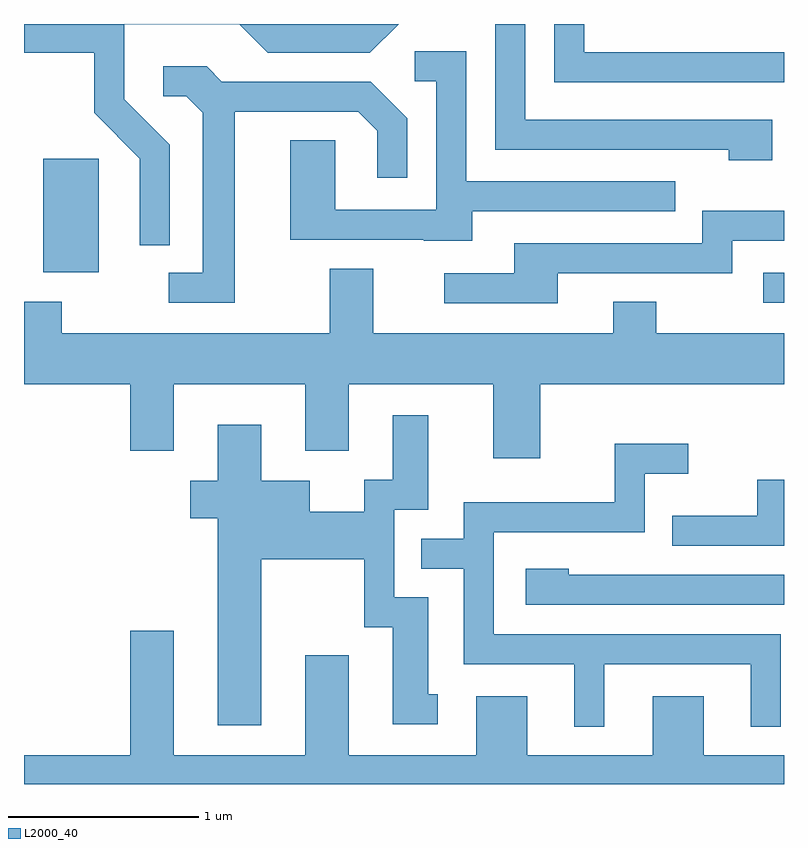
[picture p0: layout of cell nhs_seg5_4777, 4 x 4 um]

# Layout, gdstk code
import gdstk
lib = gdstk.Library(unit=1e-6, precision=1e-09)
def R(c, l, rs):  # rectangles x0, y0, x1, y1
    for r in rs: c.add(gdstk.rectangle(r[:2], r[2:], *l))
def P(c, l, *ps):  # polygons
    for p in ps: c.add(gdstk.Polygon(p, *l))
L2000_40 = (2000, 40)

nhs_seg5_4777 = lib.new_cell('nhs_seg5_4777')
R(nhs_seg5_4777, L2000_40, [(331.503,1410.606,331.611,1410.764), (327.711,1410.766,328.004,1411.364)])
P(nhs_seg5_4777, L2000_40, [(331.549,1411.569),(330.249,1411.569),(330.249,1412.072),(330.091,1412.072),(330.091,1411.411),(331.321,1411.411),(331.321,1411.356),(331.549,1411.356)],
  [(328.379,1411.437),(328.139,1411.677),(328.139,1412.071),(328.744,1412.071),(328.894,1411.921),(329.432,1411.921),(329.583,1412.072),(327.611,1412.072),(327.611,1411.921),(327.981,1411.921),(327.981,1411.604),(328.221,1411.364),(328.221,1410.908),(328.379,1410.908)],
  [(331.611,1411.924),(330.559,1411.924),(330.559,1412.072),(330.401,1412.072),(330.401,1411.766),(331.611,1411.766)],
  [(329.969,1411.086),(331.038,1411.086),(331.038,1411.244),(329.939,1411.244),(329.939,1411.929),(329.668,1411.929),(329.668,1411.771),(329.781,1411.771),(329.781,1411.094),(329.249,1411.094),(329.249,1411.459),(329.011,1411.459),(329.011,1410.936),(329.715,1410.936),(329.715,1410.931),(329.969,1410.931)],
  [(328.719,1411.611),(329.369,1411.611),(329.471,1411.509),(329.471,1411.263),(329.629,1411.263),(329.629,1411.577),(329.437,1411.769),(328.652,1411.769),(328.572,1411.849),(328.343,1411.849),(328.343,1411.691),(328.464,1411.691),(328.551,1411.604),(328.551,1410.764),(328.373,1410.764),(328.373,1410.606),(328.719,1410.606)],
  [(330.419,1410.761),(331.339,1410.761),(331.339,1410.931),(331.611,1410.931),(331.611,1411.089),(331.181,1411.089),(331.181,1410.919),(330.191,1410.919),(330.191,1410.759),(329.823,1410.759),(329.823,1410.601),(330.419,1410.601)],
  [(330.329,1410.176),(331.611,1410.176),(331.611,1410.444),(330.939,1410.444),(330.939,1410.609),(330.711,1410.609),(330.711,1410.444),(329.449,1410.444),(329.449,1410.784),(329.221,1410.784),(329.221,1410.444),(327.809,1410.444),(327.809,1410.609),(327.611,1410.609),(327.611,1410.176),(328.171,1410.176),(328.171,1409.826),(328.399,1409.826),(328.399,1410.176),(329.091,1410.176),(329.091,1409.826),(329.319,1409.826),(329.319,1410.176),(330.081,1410.176),(330.081,1409.786),(330.329,1409.786)],
  [(328.859,1409.256),(329.401,1409.256),(329.401,1408.896),(329.551,1408.896),(329.551,1408.386),(329.788,1408.386),(329.788,1408.544),(329.739,1408.544),(329.739,1409.054),(329.559,1409.054),(329.559,1409.516),(329.739,1409.516),(329.739,1410.014),(329.551,1410.014),(329.551,1409.674),(329.401,1409.674),(329.401,1409.504),(329.114,1409.504),(329.114,1409.669),(328.859,1409.669),(328.859,1409.964),(328.631,1409.964),(328.631,1409.669),(328.486,1409.669),(328.486,1409.471),(328.631,1409.471),(328.631,1408.381),(328.859,1408.381)],
  [(330.664,1408.701),(331.436,1408.701),(331.436,1408.373),(331.594,1408.373),(331.594,1408.859),(330.084,1408.859),(330.084,1409.396),(330.879,1409.396),(330.879,1409.706),(331.108,1409.706),(331.108,1409.864),(330.721,1409.864),(330.721,1409.554),(329.926,1409.554),(329.926,1409.364),(329.703,1409.364),(329.703,1409.206),(329.926,1409.206),(329.926,1408.701),(330.506,1408.701),(330.506,1408.373),(330.664,1408.373)],
  [(331.611,1409.674),(331.471,1409.674),(331.471,1409.484),(331.023,1409.484),(331.023,1409.326),(331.611,1409.326)],
  [(331.611,1409.174),(330.479,1409.174),(330.479,1409.204),(330.251,1409.204),(330.251,1409.016),(331.611,1409.016)],
  [(329.319,1408.749),(329.091,1408.749),(329.091,1408.224),(328.399,1408.224),(328.399,1408.879),(328.171,1408.879),(328.171,1408.224),(327.611,1408.224),(327.611,1408.072),(331.611,1408.072),(331.611,1408.224),(331.189,1408.224),(331.189,1408.534),(330.921,1408.534),(330.921,1408.224),(330.259,1408.224),(330.259,1408.534),(329.991,1408.534),(329.991,1408.224),(329.319,1408.224)])

lib.write_gds('nhs_seg5_4777.gds')
